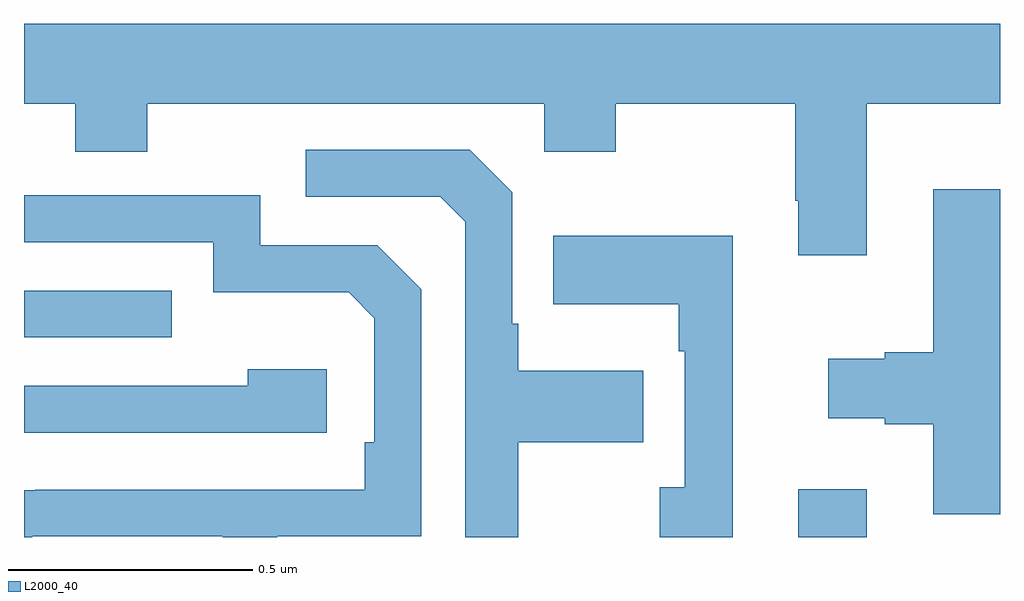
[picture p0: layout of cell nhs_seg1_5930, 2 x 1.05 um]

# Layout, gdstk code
import gdstk
lib = gdstk.Library(unit=1e-6, precision=1e-09)
def R(c, l, rs):  # rectangles x0, y0, x1, y1
    for r in rs: c.add(gdstk.rectangle(r[:2], r[2:], *l))
def P(c, l, *ps):  # polygons
    for p in ps: c.add(gdstk.Polygon(p, *l))
L2000_40 = (2000, 40)

nhs_seg1_5930 = lib.new_cell('nhs_seg1_5930')
R(nhs_seg1_5930, L2000_40, [(186.587,528.199,186.727,528.298), (185,528.609,185.303,528.705)])
P(nhs_seg1_5930, L2000_40, [(186.727,529.088),(187,529.088),(187,529.252),(185,529.252),(185,529.088),(185.105,529.088),(185.105,528.989),(185.253,528.989),(185.253,529.088),(186.066,529.088),(186.066,528.989),(186.213,528.989),(186.213,529.088),(186.58,529.088),(186.58,528.889),(186.587,528.889),(186.587,528.777),(186.727,528.777)],
  [(186.013,528.394),(186.269,528.394),(186.269,528.541),(186.013,528.541),(186.013,528.637),(186,528.637),(186,528.906),(185.913,528.993),(185.577,528.993),(185.577,528.897),(185.853,528.897),(185.904,528.846),(185.904,528.199),(186.013,528.199)],
  [(187,528.913),(186.863,528.913),(186.863,528.578),(186.764,528.578),(186.764,528.565),(186.648,528.565),(186.648,528.443),(186.764,528.443),(186.764,528.431),(186.863,528.431),(186.863,528.246),(187,528.246)],
  [(185.017,528.201),(185.407,528.201),(185.407,528.199),(185.519,528.199),(185.519,528.201),(185.814,528.201),(185.814,528.708),(185.724,528.798),(185.484,528.798),(185.484,528.9),(185,528.9),(185,528.804),(185.388,528.804),(185.388,528.701),(185.665,528.701),(185.718,528.648),(185.718,528.394),(185.698,528.394),(185.698,528.297),(185.023,528.297),(185.023,528.296),(185,528.296),(185,528.199),(185.017,528.199)],
  [(186.452,528.817),(186.085,528.817),(186.085,528.677),(186.342,528.677),(186.342,528.581),(186.354,528.581),(186.354,528.302),(186.303,528.302),(186.303,528.199),(186.452,528.199)],
  [(185.62,528.544),(185.459,528.544),(185.459,528.51),(185,528.51),(185,528.414),(185.62,528.414)])

lib.write_gds('nhs_seg1_5930.gds')
